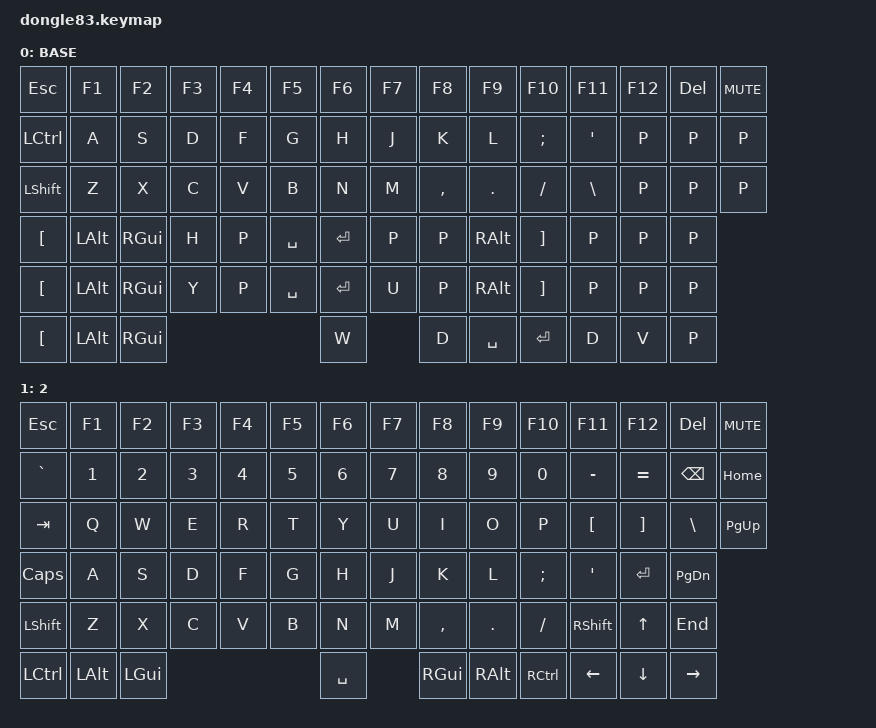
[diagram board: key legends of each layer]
#include <behaviors.dtsi>
#include <dt-bindings/zmk/keys.h>

#define BASE 0

&lt { quick_tap_ms = <220>; };
&mt { quick_tap_ms = <220>; };

/ {
    combos {
        compatible = "zmk,combos";

        bootloader {
            bindings = <&bootloader>;
            key-positions = <76 81 71>;
        };
    };

    keymap {
        compatible = "zmk,keymap";

        default_layer {
            label = "BASE";
            bindings = <
&kp ESC    &kp F1    &kp F2    &kp F3  &kp F4  &kp F5     &kp F6     &kp F7  &kp F8     &kp F9     &kp F10        &kp F11   &kp F12  &kp DEL  &kp K_MUTE
&kp LCTRL  &kp A     &kp S     &kp D   &kp F   &kp G      &kp H      &kp J   &kp K      &kp L      &kp SEMICOLON  &kp APOS  &kp P    &kp P    &kp P
&kp LSHFT  &kp Z     &kp X     &kp C   &kp V   &kp B      &kp N      &kp M   &kp COMMA  &kp DOT    &kp SLASH      &kp BSLH  &kp P    &kp P    &kp P
&kp LBKT   &kp LALT  &kp RGUI  &kp H   &kp P   &kp SPACE  &kp ENTER  &kp P   &kp P      &kp RALT   &kp RBKT       &kp P     &kp P    &kp P
&kp LBKT   &kp LALT  &kp RGUI  &kp Y   &kp P   &kp SPACE  &kp ENTER  &kp U   &kp P      &kp RALT   &kp RBKT       &kp P     &kp P    &kp P
&kp LBKT   &kp LALT  &kp RGUI                             &kp W              &kp D      &kp SPACE  &kp ENTER      &kp D     &kp V    &kp P
            >;
        };

        layer_1 {
            label = "2";
            bindings = <
&kp ESC    &kp F1    &kp F2    &kp F3  &kp F4  &kp F5  &kp F6     &kp F7  &kp F8     &kp F9    &kp F10    &kp F11         &kp F12         &kp DEL          &kp K_MUTE
&kp GRAVE  &kp N1    &kp N2    &kp N3  &kp N4  &kp N5  &kp N6     &kp N7  &kp N8     &kp N9    &kp N0     &kp MINUS       &kp EQUAL       &kp BSPC         &kp HOME
&kp TAB    &kp Q     &kp W     &kp E   &kp R   &kp T   &kp Y      &kp U   &kp I      &kp O     &kp P      &kp LBKT        &kp RBKT        &kp BSLH         &kp PAGE_UP
&kp CAPS   &kp A     &kp S     &kp D   &kp F   &kp G   &kp H      &kp J   &kp K      &kp L     &kp SEMI   &kp APOS        &kp ENTER       &kp PAGE_DOWN
&kp LSHFT  &kp Z     &kp X     &kp C   &kp V   &kp B   &kp N      &kp M   &kp COMMA  &kp DOT   &kp FSLH   &kp RSHFT       &kp UP_ARROW    &kp END
&kp LCTRL  &kp LALT  &kp LGUI                          &kp SPACE          &kp RGUI   &kp RALT  &kp RCTRL  &kp LEFT_ARROW  &kp DOWN_ARROW  &kp RIGHT_ARROW
            >;
        };
    };
};
